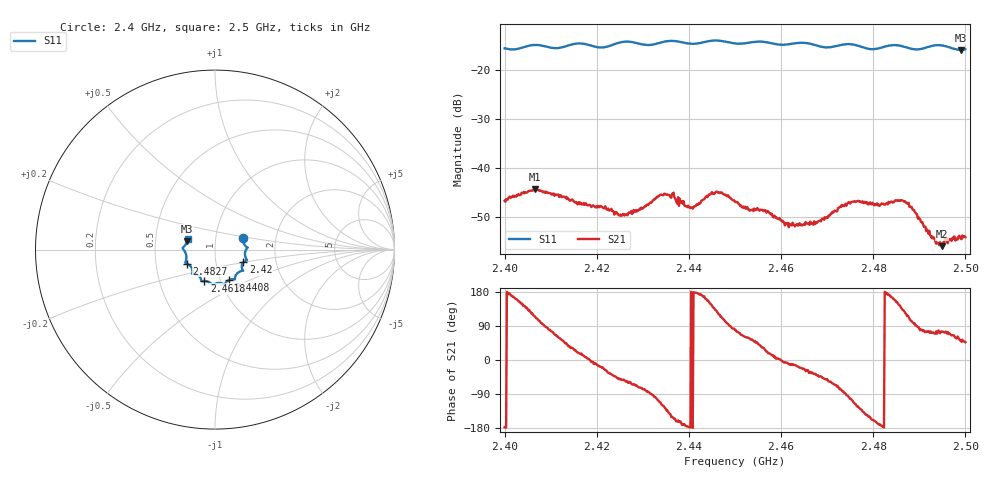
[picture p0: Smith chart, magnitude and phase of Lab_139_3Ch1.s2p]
# Hz S RI R 50
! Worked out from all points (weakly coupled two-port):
!   601 points, 2.4 GHz to 2.5 GHz, reference 50 ohm
!   highest |S21| = -44.32 dB at 2.4065 GHz (marker M1); lowest = -56.0 dB at 2.495 GHz (marker M2)
!   lowest |S11| = -15.8 dB at 2.499 GHz (marker M3), VSWR 1.39, Z = 36.5 + j3.5 ohm
!   |S11| at or under -10 dB: start of sweep to end of sweep
!   S12 and S22 are empty: the file has one direction only
!   S11 on the Smith chart (normalised r, x): 2.4 GHz: 1.36, +0.17; 2.42 GHz: 1.36, -0.19; 2.4408 GHz: 1.10, -0.39; 2.4618 GHz: 0.84, -0.30; 2.4827 GHz: 0.72, -0.12; 2.5 GHz: 0.73, +0.09
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2.4e9  0.1559 0.0619  -0.00461 -0.0002  0 0  0 0
2.4065e9  0.1812 0.0117  -0.00263 0.00548  0 0  0 0
2.411333e9  0.1668 -0.0215  0.00245 0.00474  0 0  0 0
2.416667e9  0.1782 -0.0593  0.0041 0.00127  0 0  0 0
2.42e9  0.1584 -0.0693  0.00399 -0.000878  0 0  0 0
2.426167e9  0.1574 -0.1173  0.00193 -0.00272  0 0  0 0
2.433333e9  0.112 -0.1521  -0.00147 -0.0049  0 0  0 0
2.436167e9  0.1103 -0.1665  -0.00431 -0.00246  0 0  0 0
2.440833e9  0.079 -0.1689  -0.00384 -5.6e-05  0 0  0 0
2.4455e9  0.0524 -0.1946  -0.0039 0.00377  0 0  0 0
2.45e9  0.0279 -0.186  0.000848 0.00443  0 0  0 0
2.456833e9  -0.0177 -0.1926  0.00323 0.00134  0 0  0 0
2.461833e9  -0.0601 -0.1751  0.00263 -0.000536  0 0  0 0
2.466667e9  -0.077 -0.1684  0.00228 -0.00145  0 0  0 0
2.475167e9  -0.1268 -0.1343  -0.000976 -0.00434  0 0  0 0
2.482667e9  -0.157 -0.0777  -0.00424 8.55e-05  0 0  0 0
2.483333e9  -0.1613 -0.0763  -0.00448 0.000553  0 0  0 0
2.487167e9  -0.1611 -0.0593  -0.00229 0.00381  0 0  0 0
2.493167e9  -0.1792 0.00508  0.000646 0.00181  0 0  0 0
2.495e9  -0.179 0.0112  0.000418 0.00153  0 0  0 0
2.499e9  -0.1546 0.0468  0.00116 0.00149  0 0  0 0
2.5e9  -0.1518 0.0616  0.00134 0.00143  0 0  0 0
